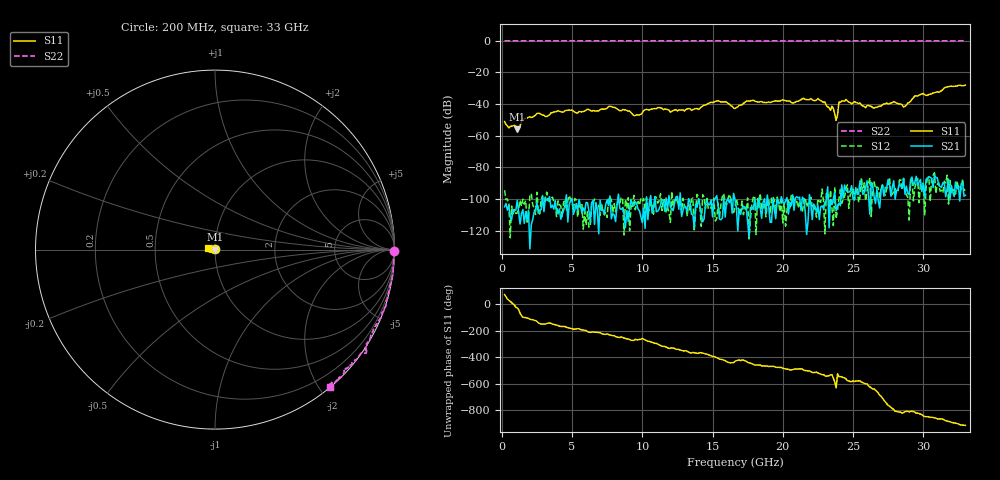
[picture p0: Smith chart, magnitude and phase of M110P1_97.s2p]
# GHZ S RI R 50
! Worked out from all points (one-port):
!   329 points, 200 MHz to 33 GHz, reference 50 ohm
!   lowest |S11| = -55.8 dB at 1.1 GHz (marker M1), VSWR 1.00, Z = 50.1 - j0.0757 ohm
!   |S11| at or under -10 dB: start of sweep to end of sweep
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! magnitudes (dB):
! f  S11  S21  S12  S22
! 200 MHz  -51.1  -105.0  -94.4  0.0
! 1.1 GHz  -55.8  -100.9  -108.8  0.0
! 1.5 GHz  -49.6  -106.7  -100.1  0.0
! 2.5 GHz  -45.9  -102.1  -95.7  0.0
! 5.7 GHz  -44.9  -108.8  -103.6  0.0
! 7.7 GHz  -41.4  -98.1  -98.9  0.0
! 9.5 GHz  -47.3  -101.7  -106.8  0.0
! 11.2 GHz  -42.2  -106.3  -101.1  0.0
! 13.5 GHz  -44.0  -109.6  -100.1  0.0
! 15.4 GHz  -37.9  -104.6  -102.6  0.0
! 16.6 GHz  -42.8  -100.2  -105.0  -0.1
! 17.9 GHz  -37.6  -106.6  -99.0  -0.1
! 22.1 GHz  -37.2  -113.0  -105.8  -0.1
! 23.5 GHz  -41.4  -103.6  -106.0  0.1
! 23.8 GHz  -50.4  -107.5  -112.5  0.1
! 24 GHz  -38.7  -102.6  -99.9  0.0
! 24.5 GHz  -37.0  -94.6  -93.0  0.0
! 25.9 GHz  -42.3  -92.6  -101.1  0.0
! 27.6 GHz  -39.7  -90.6  -86.5  -0.1
! 28.6 GHz  -41.8  -86.9  -87.1  -0.1
! 29.4 GHz  -34.9  -89.6  -93.1  0.0
! 33 GHz  -28.0  -97.6  -94.3  0.0
